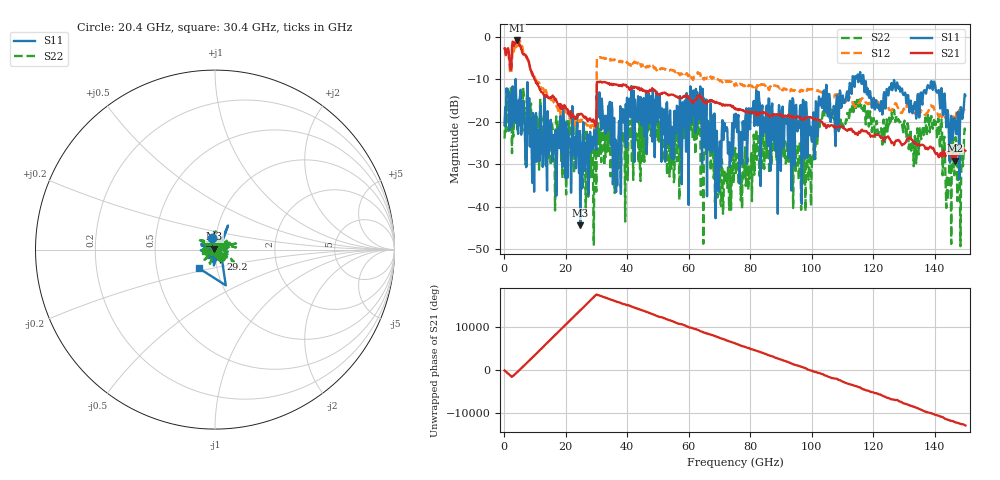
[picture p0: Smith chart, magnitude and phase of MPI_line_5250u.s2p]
!  2-Port S-parameters saved by WinCal
! VAR MeasName=S-Parameters (RAW_DATA) read from VNA (MS4647B)
! VAR MeasDate=09-Dec-21 16:43:40
! VAR NAME=L5
! VAR FILENAME=L5.S2P
! VAR DATE=09-Dec-21 16:43:40
! VAR PHYS_PORTS=1,2
! VAR ObjTypeName=DATASET
! VAR IndexType=Frequency
# Hz S RI R 50
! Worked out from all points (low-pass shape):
!   750 points, 200 MHz to 150 GHz, reference 50 ohm
!   highest |S21| = -0.93 dB at 4.2 GHz (marker M1); lowest = -29.2 dB at 146.6 GHz (marker M2)
!   |S21| within 3 dB of the highest: 718.2 MHz to 1.574 GHz (855.4 MHz wide, 74.6 % of centre); 2.539 GHz to 6.049 GHz (3.51 GHz wide, 81.7 % of centre)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
!   lowest |S11| = -44.4 dB at 24.8 GHz (marker M3), VSWR 1.01, Z = 49.6 + j0.44 ohm
!   |S11| at or under -10 dB: start of sweep to 3.8 GHz; 3.8 GHz to 113.3 GHz (109.5 GHz wide, 187 % of centre); 116.9 GHz to end of sweep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
!   |S22| runs from -49.3 to -11.9 dB; largest |S21 - S12| = 1.7
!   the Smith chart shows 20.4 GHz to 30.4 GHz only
!   S11 on the Smith chart (normalised r, x): 20.4 GHz: 0.96, +0.12; 29.2 GHz: 1.06, -0.11; 30.4 GHz: 0.82, -0.17
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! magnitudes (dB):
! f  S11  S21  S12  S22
! 200 MHz  -20.8  -2.8  -2.7  -24.0
! 4.2 GHz  -16.8  -0.9  -1.6  -16.3
! 20.4 GHz  -23.7  -17.1  -17.9  -25.6
! 24.8 GHz  -44.4  -18.2  -19.7  -22.0
! 25.2 GHz  -25.0  -18.2  -19.9  -28.9
! 29.2 GHz  -24.4  -19.8  -20.7  -48.9
! 30.4 GHz  -17.2  -10.7  -5.0  -24.9
! 36.6 GHz  -29.0  -11.3  -5.7  -28.5
! 41 GHz  -16.2  -12.1  -6.5  -21.6
! 50.2 GHz  -16.0  -13.6  -7.8  -19.3
! 54.8 GHz  -21.2  -13.7  -7.9  -25.8
! 63.4 GHz  -19.5  -13.7  -8.8  -19.4
! 69.4 GHz  -32.0  -15.6  -10.1  -37.8
! 75.2 GHz  -21.3  -16.8  -11.2  -26.2
! 100.2 GHz  -24.8  -19.1  -12.4  -28.0
! 104.2 GHz  -17.6  -20.7  -13.4  -18.8
! 125.2 GHz  -12.0  -24.0  -17.2  -19.1
! 140.8 GHz  -13.2  -27.4  -18.1  -24.0
! 144 GHz  -18.4  -27.3  -18.0  -32.6
! 146.6 GHz  -19.6  -29.2  -19.2  -24.4
! 148 GHz  -33.6  -27.0  -17.3  -29.5
! 150 GHz  -13.9  -26.8  -17.7  -22.7
